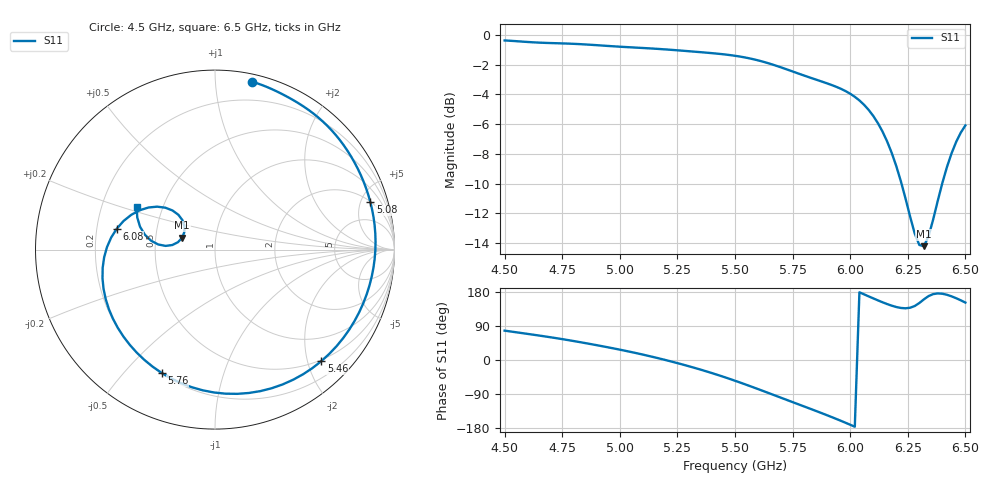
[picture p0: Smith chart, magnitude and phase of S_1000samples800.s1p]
! TOUCHSTONE file generated by CST MICROWAVE STUDIO
! Date and time: Sat Oct 29 10:39:16 2022
! Project name: L.cst
! Parameters = {Di=1.27; Epsilon_r=1.56; InnerDiameter=1.27; Length=2; Lf=10; Lg=60; OuterConductorThickness=0.2921; OuterDiameter=3.6; Wf=3; Wp=41.2; de=1.5; df=6.8; g=0.8; gx=4.22183; gy=0.45776; h=2.34; hf=1.524; px=8.90151; py=10.21; w=9.7; wx=4.67969; wy=9.75228}
! Header version: 2018
! Port assignment regex: !\s*Touchstone port\s*([0-9]+)\s*=\s*(CST MWS port|CST DS port)\s*([0-9]+|Zmin|Zmax)\s*\(\"(.*)\"\)(\s*mode\s*([0-9]+))?.*
! Touchstone port assignment:
! Touchstone port 1 = CST MWS port 1 ("")
# GHz S DB R 50
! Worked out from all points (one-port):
!   101 points, 4.5 GHz to 6.5 GHz, reference 50 ohm
!   lowest |S11| = -14.2 dB at 6.32 GHz (marker M1), VSWR 1.48, Z = 34.3 + j4.73 ohm
!   |S11| at or under -10 dB: 6.223 GHz to 6.399 GHz (176.7 MHz wide, 2.8 % of centre)
!   S11 on the Smith chart (normalised r, x): 4.5 GHz: 0.06, +1.24; 5.08 GHz: 2.05, +6.01; 5.46 GHz: 0.48, -2.25; 5.76 GHz: 0.20, -0.64; 6.08 GHz: 0.29, +0.10; 6.5 GHz: 0.36, +0.22
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4.5  -0.38 77.5
4.76  -0.58 54.1
4.88  -0.67 41.3
5  -0.80 27.3
5.08  -0.87 17.0
5.18  -0.96 2.7
5.26  -1.05 -9.8
5.36  -1.18 -27.1
5.46  -1.33 -46.4
5.5  -1.41 -54.7
5.56  -1.57 -67.7
5.62  -1.80 -81.3
5.68  -2.08 -95.0
5.76  -2.52 -113.4
5.88  -3.16 -141.1
5.94  -3.50 -155.6
6  -3.96 -170.8
6.08  -5.04 168.0
6.12  -5.93 157.4
6.16  -7.16 147.7
6.2  -8.82 139.8
6.26  -12.22 137.9
6.3  -14.13 150.3
6.32  -14.21 160.1
6.36  -12.42 173.9
6.4  -9.96 174.8
6.46  -7.20 163.0
6.5  -6.09 151.5
